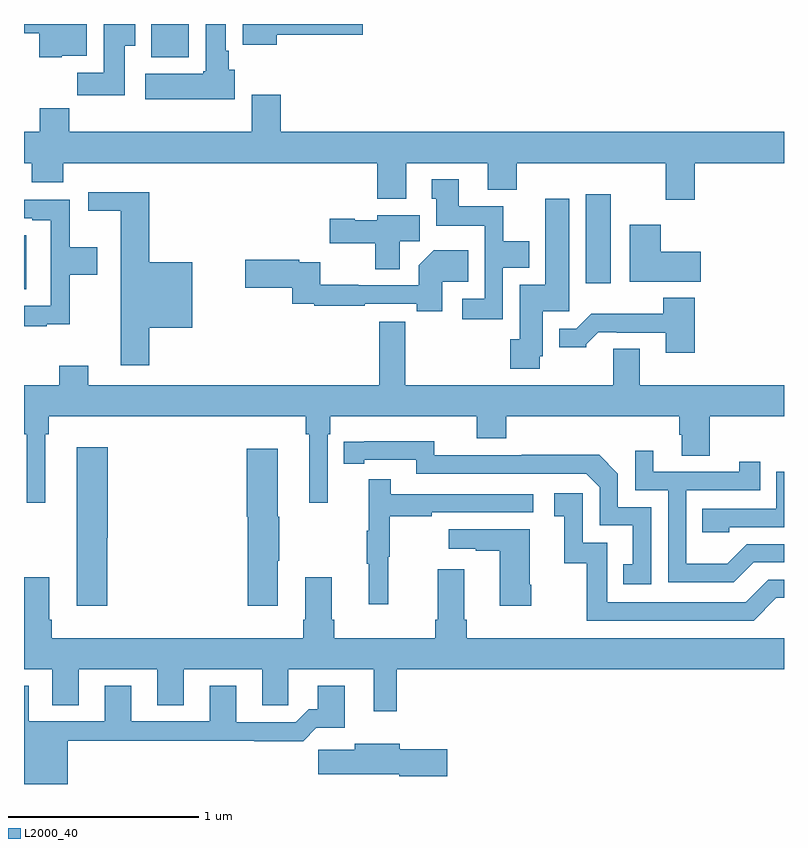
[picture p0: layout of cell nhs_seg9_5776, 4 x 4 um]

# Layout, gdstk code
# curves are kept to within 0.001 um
import gdstk
lib = gdstk.Library(unit=1e-6, precision=1e-09)
def R(c, l, rs):  # rectangles x0, y0, x1, y1
    for r in rs: c.add(gdstk.rectangle(r[:2], r[2:], *l))
def P(c, l, *ps):  # polygons
    for p in ps: c.add(gdstk.Polygon(p, *l))
L2000_40 = (2000, 40)

nhs_seg9_5776 = lib.new_cell('nhs_seg9_5776')
R(nhs_seg9_5776, L2000_40, [(447,1181.105,447.013,1181.389), (449.957,1181.136,450.088,1181.605), (447.671,1182.326,447.868,1182.5)])
P(nhs_seg9_5776, L2000_40, [(448.108,1182.258),(448.078,1182.258),(448.078,1182.358),(448.063,1182.358),(448.063,1182.5),(447.956,1182.5),(447.956,1182.252),(447.943,1182.252),(447.943,1182.238),(447.639,1182.238),(447.639,1182.104),(448.108,1182.104)],
  [(447.529,1182.385),(447.586,1182.385),(447.586,1182.5),(447.419,1182.5),(447.419,1182.244),(447.28,1182.244),(447.28,1182.126),(447.529,1182.126)],
  [(447.198,1182.332),(447.331,1182.332),(447.331,1182.5),(447,1182.5),(447,1182.452),(447.08,1182.452),(447.08,1182.326),(447.198,1182.326)],
  [(448.33,1182.443),(448.783,1182.443),(448.783,1182.5),(448.151,1182.5),(448.151,1182.392),(448.33,1182.392)],
  [(450.53,1181.768),(451,1181.768),(451,1181.932),(448.352,1181.932),(448.352,1182.127),(448.199,1182.127),(448.199,1181.932),(447.239,1181.932),(447.239,1182.056),(447.083,1182.056),(447.083,1181.932),(447,1181.932),(447,1181.768),(447.041,1181.768),(447.041,1181.666),(447.206,1181.666),(447.206,1181.768),(448.859,1181.768),(448.859,1181.579),(449.011,1181.579),(449.011,1181.768),(449.441,1181.768),(449.441,1181.627),(449.594,1181.627),(449.594,1181.768),(450.377,1181.768),(450.377,1181.574),(450.53,1181.574)],
  [(449.52,1181.216),(449.659,1181.216),(449.659,1181.356),(449.523,1181.356),(449.523,1181.542),(449.287,1181.542),(449.287,1181.683),(449.147,1181.683),(449.147,1181.58),(449.171,1181.58),(449.171,1181.438),(449.424,1181.438),(449.424,1181.055),(449.307,1181.055),(449.307,1180.947),(449.52,1180.947)],
  [(447.659,1180.901),(447.886,1180.901),(447.886,1181.245),(447.659,1181.245),(447.659,1181.614),(447.339,1181.614),(447.339,1181.516),(447.509,1181.516),(447.509,1180.704),(447.659,1180.704)],
  [(449.715,1180.752),(449.731,1180.752),(449.731,1180.989),(449.869,1180.989),(449.869,1181.581),(449.744,1181.581),(449.744,1181.128),(449.609,1181.128),(449.609,1180.842),(449.558,1180.842),(449.558,1180.686),(449.715,1180.686)],
  [(447.119,1180.919),(447.242,1180.919),(447.242,1181.179),(447.385,1181.179),(447.385,1181.326),(447.242,1181.326),(447.242,1181.574),(447,1181.574),(447,1181.478),(447.044,1181.478),(447.044,1181.466),(447.141,1181.466),(447.141,1181.016),(447,1181.016),(447,1180.908),(447.119,1180.908)],
  [(448.978,1181.356),(449.083,1181.356),(449.083,1181.494),(448.86,1181.494),(448.86,1181.467),(448.74,1181.467),(448.74,1181.475),(448.608,1181.475),(448.608,1181.345),(448.849,1181.345),(448.849,1181.209),(448.978,1181.209)],
  [(450.562,1181.302),(450.352,1181.302),(450.352,1181.443),(450.188,1181.443),(450.188,1181.144),(450.562,1181.144)],
  [(449.2,1181.144),(449.339,1181.144),(449.339,1181.308),(449.156,1181.308),(449.078,1181.23),(449.078,1181.124),(448.76,1181.124),(448.76,1181.127),(448.56,1181.127),(448.56,1181.245),(448.448,1181.245),(448.448,1181.258),(448.164,1181.258),(448.164,1181.111),(448.412,1181.111),(448.412,1181.028),(448.528,1181.028),(448.528,1181.016),(448.793,1181.016),(448.793,1181.028),(449.066,1181.028),(449.066,1180.987),(449.2,1180.987)],
  [(450.53,1181.059),(450.365,1181.059),(450.365,1180.975),(449.986,1180.975),(449.907,1180.896),(449.816,1180.896),(449.816,1180.799),(449.958,1180.799),(449.958,1180.814),(450.022,1180.878),(450.121,1180.878),(450.121,1180.875),(450.377,1180.875),(450.377,1180.77),(450.53,1180.77)],
  [(447.112,1180.34),(447.131,1180.34),(447.131,1180.436),(448.483,1180.436),(448.483,1180.34),(448.502,1180.34),(448.502,1179.981),(448.599,1179.981),(448.599,1180.34),(448.613,1180.34),(448.613,1180.436),(449.384,1180.436),(449.384,1180.319),(449.537,1180.319),(449.537,1180.436),(450.449,1180.436),(450.449,1180.338),(450.461,1180.338),(450.461,1180.228),(450.609,1180.228),(450.609,1180.436),(451,1180.436),(451,1180.6),(450.241,1180.6),(450.241,1180.79),(450.101,1180.79),(450.101,1180.6),(449.006,1180.6),(449.006,1180.933),(448.87,1180.933),(448.87,1180.6),(447.337,1180.6),(447.337,1180.702),(447.185,1180.702),(447.185,1180.6),(447,1180.6),(447,1180.436),(447.002,1180.436),(447.002,1180.34),(447.015,1180.34),(447.015,1179.981),(447.112,1179.981)],
  [(450.3,1179.957),(450.126,1179.957),(450.126,1180.134),(450.028,1180.232),(449.62,1180.232),(449.62,1180.23),(449.16,1180.23),(449.16,1180.303),(448.684,1180.302),(448.684,1180.186),(448.792,1180.186),(448.792,1180.206),(449.064,1180.206),(449.064,1180.134),(449.958,1180.134),(450.03,1180.062),(450.03,1179.861),(450.203,1179.861),(450.203,1179.657),(450.154,1179.657),(450.154,1179.552),(450.3,1179.552)],
  [(447.437,1179.795),(447.442,1179.795),(447.442,1180.273),(447.278,1180.273),(447.278,1179.438),(447.437,1179.438)],
  [(448.336,1179.676),(448.344,1179.676),(448.344,1179.906),(448.336,1179.906),(448.336,1180.264),(448.172,1180.264),(448.172,1179.906),(448.178,1179.906),(448.178,1179.438),(448.336,1179.438)],
  [(450.841,1179.666),(451,1179.666),(451,1179.762),(450.804,1179.762),(450.7,1179.658),(450.486,1179.658),(450.486,1180.047),(450.875,1180.047),(450.875,1180.195),(450.764,1180.195),(450.764,1180.143),(450.313,1180.143),(450.313,1180.255),(450.216,1180.255),(450.216,1180.047),(450.39,1180.047),(450.39,1179.561),(450.736,1179.561)],
  [(450.711,1179.852),(451,1179.852),(451,1180.143),(450.96,1180.143),(450.96,1179.948),(450.571,1179.948),(450.571,1179.825),(450.711,1179.825)],
  [(448.916,1179.696),(448.924,1179.696),(448.924,1179.91),(449.147,1179.91),(449.147,1179.93),(449.68,1179.93),(449.68,1180.026),(448.931,1180.026),(448.931,1180.105),(448.814,1180.105),(448.814,1179.833),(448.803,1179.833),(448.803,1179.659),(448.814,1179.659),(448.814,1179.447),(448.916,1179.447)],
  [(450.96,1179.48),(451,1179.48),(451,1179.576),(450.918,1179.576),(450.798,1179.456),(450.069,1179.456),(450.069,1179.771),(449.94,1179.771),(449.94,1180.03),(449.79,1180.03),(449.79,1179.909),(449.843,1179.909),(449.843,1179.663),(449.961,1179.663),(449.961,1179.36),(450.84,1179.36)],
  [(449.67,1179.55),(449.662,1179.55),(449.662,1179.841),(449.235,1179.841),(449.235,1179.737),(449.378,1179.737),(449.378,1179.727),(449.504,1179.727),(449.504,1179.438),(449.67,1179.438)],
  [(448.963,1179.104),(451,1179.104),(451,1179.268),(449.33,1179.268),(449.33,1179.364),(449.317,1179.364),(449.317,1179.631),(449.177,1179.631),(449.177,1179.364),(449.165,1179.364),(449.165,1179.268),(448.634,1179.268),(448.634,1179.364),(448.621,1179.364),(448.621,1179.589),(448.481,1179.589),(448.481,1179.364),(448.469,1179.364),(448.469,1179.268),(447.146,1179.268),(447.146,1179.364),(447.133,1179.364),(447.133,1179.589),(447,1179.589),(447,1179.104),(447.149,1179.104),(447.149,1178.914),(447.289,1178.914),(447.289,1179.104),(447.701,1179.104),(447.701,1178.914),(447.841,1178.914),(447.841,1179.104),(448.253,1179.104),(448.253,1178.914),(448.392,1178.914),(448.392,1179.104),(448.841,1179.104),(448.841,1178.883),(448.963,1178.883)],
  [(447.229,1178.728),(448.213,1178.728),(448.213,1178.726),(448.469,1178.726),(448.538,1178.795),(448.687,1178.795),(448.687,1179.016),(448.547,1179.016),(448.547,1178.893),(448.498,1178.893),(448.431,1178.826),(448.117,1178.826),(448.117,1179.016),(447.977,1179.016),(447.977,1178.829),(447.565,1178.829),(447.565,1179.016),(447.425,1179.016),(447.425,1178.829),(447.025,1178.829),(447.025,1179.016),(447,1179.016),(447,1178.5),(447.229,1178.5)],
  [(449.227,1178.682),(448.978,1178.682),(448.978,1178.713),(448.742,1178.713),(448.742,1178.681),(448.548,1178.681),(448.548,1178.552),(448.974,1178.552),(448.974,1178.54),(449.227,1178.54)])

lib.write_gds('nhs_seg9_5776.gds')
